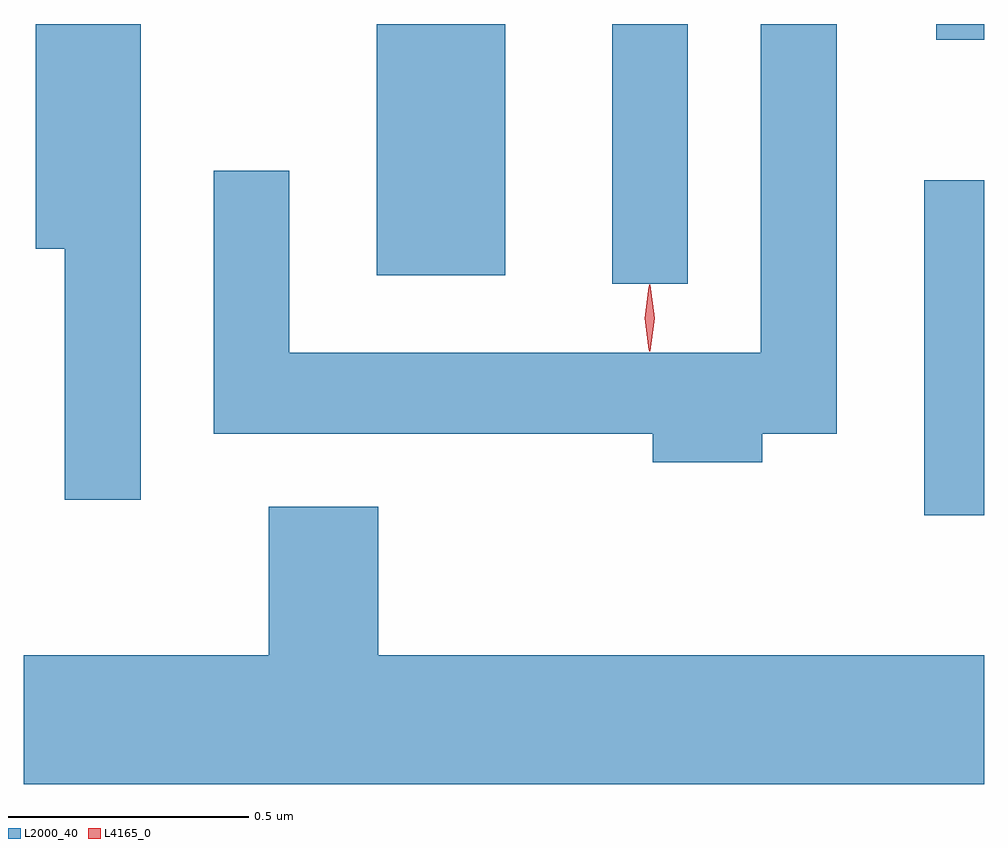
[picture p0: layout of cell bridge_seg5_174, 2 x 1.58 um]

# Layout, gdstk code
import gdstk
lib = gdstk.Library(unit=1e-6, precision=1e-09)
def R(c, l, rs):  # rectangles x0, y0, x1, y1
    for r in rs: c.add(gdstk.rectangle(r[:2], r[2:], *l))
def P(c, l, *ps):  # polygons
    for p in ps: c.add(gdstk.Polygon(p, *l))
L2000_40 = (2000, 40)
L4165_0 = (4165, 0)

bridge_seg5_174 = lib.new_cell('bridge_seg5_174')
R(bridge_seg5_174, L2000_40, [(1184.696,1424.056,1184.821,1424.754), (1184.046,1424.538,1184.204,1425.079), (1183.556,1424.556,1183.824,1425.079), (1184.721,1425.046,1184.821,1425.079)])
P(bridge_seg5_174, L2000_40, [(1184.359,1424.226),(1184.514,1424.226),(1184.514,1425.079),(1184.356,1425.079),(1184.356,1424.394),(1183.374,1424.394),(1183.374,1424.773),(1183.216,1424.773),(1183.216,1424.226),(1184.131,1424.226),(1184.131,1424.166),(1184.359,1424.166)],
  [(1183.064,1425.079),(1182.846,1425.079),(1182.846,1424.611),(1182.906,1424.611),(1182.906,1424.088),(1183.064,1424.088)],
  [(1184.821,1423.764),(1183.559,1423.764),(1183.559,1424.074),(1183.331,1424.074),(1183.331,1423.764),(1182.821,1423.764),(1182.821,1423.496),(1184.821,1423.496)])
P(bridge_seg5_174, L4165_0, [(1184.124,1424.399),(1184.123,1424.4),(1184.114,1424.466),(1184.123,1424.532),(1184.124,1424.533),(1184.124,1424.532),(1184.134,1424.466),(1184.124,1424.4)],
  [(1184.124,1424.397),(1184.115,1424.466),(1184.124,1424.536),(1184.125,1424.536),(1184.126,1424.536),(1184.135,1424.466),(1184.126,1424.397),(1184.125,1424.397)])

lib.write_gds('bridge_seg5_174.gds')
